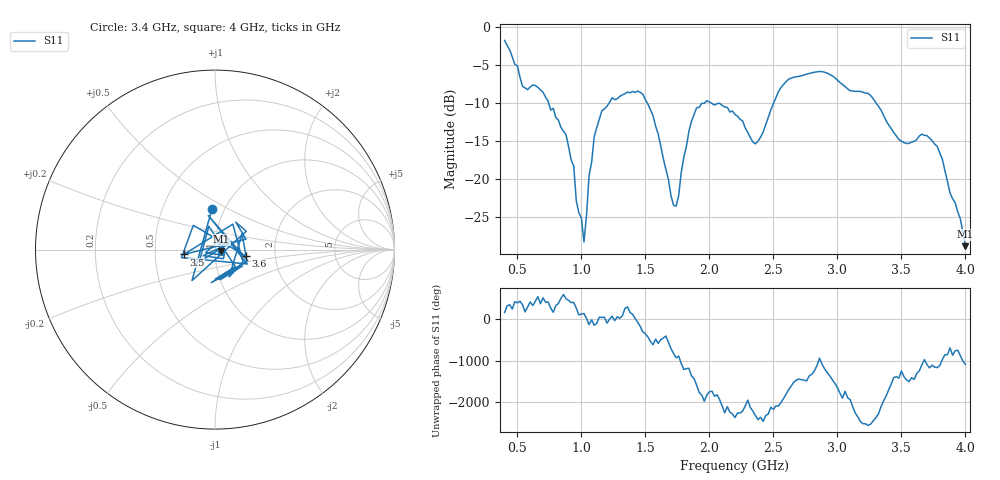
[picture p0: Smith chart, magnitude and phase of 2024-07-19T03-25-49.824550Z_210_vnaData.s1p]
!Created with skrf (http://scikit-rf.org).
# Hz S RI R 50.0
!freq ReS11 ImS11
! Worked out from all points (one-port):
!   181 points, 400 MHz to 4 GHz, reference 50 ohm
!   lowest |S11| = -28.9 dB at 4 GHz (marker M1), VSWR 1.07, Z = 53.6 - j0.907 ohm
!   |S11| at or under -10 dB: 744 MHz to 1.216 GHz (472.4 MHz wide, 48.2 % of centre); 2.014 GHz to 2.502 GHz (487.7 MHz wide, 21.6 % of centre); 3.302 GHz to end of sweep (the widest 3 of 4)
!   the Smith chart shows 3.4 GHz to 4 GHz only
!   S11 on the Smith chart (normalised r, x): 3.4 GHz: 0.87, +0.42; 3.5 GHz: 0.70, -0.04; 3.6 GHz: 1.41, -0.10; 4 GHz: 1.07, -0.02
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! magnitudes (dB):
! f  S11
! 400 MHz  -1.7
! 540 MHz  -7.8
! 700 MHz  -8.6
! 860 MHz  -13.7
! 940 MHz  -18.3
! 960 MHz  -22.9
! 1.02 GHz  -28.3
! 1.06 GHz  -19.5
! 1.1 GHz  -14.5
! 1.16 GHz  -11.0
! 1.3 GHz  -9.1
! 1.48 GHz  -8.8
! 1.6 GHz  -14.1
! 1.72 GHz  -23.5
! 1.76 GHz  -22.2
! 1.84 GHz  -13.8
! 1.9 GHz  -10.6
! 2.2 GHz  -11.5
! 2.36 GHz  -15.4
! 2.66 GHz  -6.6
! 3.1 GHz  -8.4
! 3.26 GHz  -9.0
! 3.4 GHz  -12.9
! 3.5 GHz  -15.0
! 3.56 GHz  -15.3
! 3.6 GHz  -15.1
! 3.78 GHz  -15.7
! 4 GHz  -28.9
